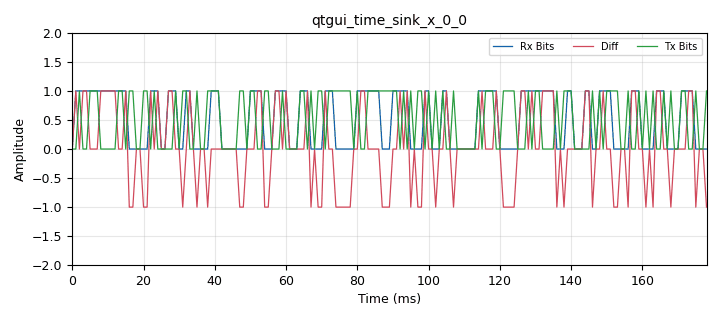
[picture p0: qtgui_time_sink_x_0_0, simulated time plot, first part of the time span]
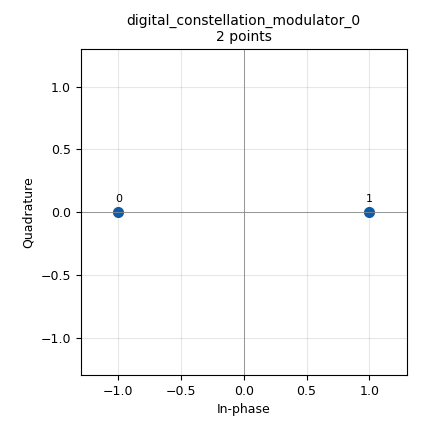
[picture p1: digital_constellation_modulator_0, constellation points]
options:
  parameters:
    author: pdflynn
    generate_options: qt_gui
    id: simple_psk
    output_language: python
    title: simple_psk_20220831
  states: {}

blocks:
- name: arity
  id: variable
  parameters:
    value: '2'
  states: {}
- name: bpsk
  id: variable_constellation
  parameters:
    precision: '8'
    type: bpsk
  states: {}
- name: delay
  id: variable_qtgui_range
  parameters:
    label: Delay
    orient: Qt.Horizontal
    start: '0'
    step: '1'
    stop: '200'
    value: '29'
  states: {}
- name: excess_bw
  id: variable
  parameters:
    value: '0.35'
  states: {}
- name: freq_offset
  id: variable
  parameters:
    value: '0'
  states: {}
- name: nfilts
  id: variable
  parameters:
    value: '32'
  states: {}
- name: noise_volt
  id: variable
  parameters:
    value: '0.05'
  states: {}
- name: phase_bw
  id: variable
  parameters:
    value: '0.0628'
  states: {}
- name: reverse
  id: variable_qtgui_chooser
  parameters:
    label0: Normal
    label1: Reverse
    num_opts: '2'
    option0: '1'
    option1: '-1'
    type: int
    value: '1'
    widget: radio_buttons
  states: {}
- name: rrc_taps
  id: variable
  parameters:
    value: firdes.root_raised_cosine(nfilts, nfilts, 1.0/float(sps), 0.35, 45*nfilts)
  states: {}
- name: samp_rate
  id: variable
  parameters:
    value: '1000'
  states: {}
- name: sps
  id: variable
  parameters:
    value: '2'
  states: {}
- name: taps
  id: variable
  parameters:
    value: '[1.0 + 0.0j, ]'
  states: {}
- name: time_offset
  id: variable
  parameters:
    value: '1.0'
  states: {}
- name: timing_loop_bw
  id: variable
  parameters:
    value: '0.0628'
  states: {}
- name: analog_random_source_x_0
  id: analog_random_source_x
  parameters:
    max: '255'
    min: '0'
    num_samps: '1000'
    repeat: 'True'
    type: byte
  states: {}
- name: blocks_char_to_float_0_0
  id: blocks_char_to_float
  parameters:
    scale: '1'
  states: {}
- name: blocks_char_to_float_0_0_0
  id: blocks_char_to_float
  parameters:
    scale: '1'
  states: {}
- name: blocks_delay_0
  id: blocks_delay
  parameters:
    delay: int(delay)
    type: float
  states: {}
- name: blocks_sub_xx_0
  id: blocks_sub_xx
  parameters:
    type: float
  states: {}
- name: blocks_throttle_0
  id: blocks_throttle
  parameters:
    samples_per_second: samp_rate
    type: complex
  states: {}
- name: blocks_unpack_k_bits_bb_0_0
  id: blocks_unpack_k_bits_bb
  parameters:
    k: '8'
  states: {}
- name: channels_channel_model_0
  id: channels_channel_model
  parameters:
    epsilon: time_offset
    freq_offset: freq_offset
    noise_voltage: noise_volt
    seed: '0'
    taps: taps
  states: {}
- name: digital_constellation_modulator_0
  id: digital_constellation_modulator
  parameters:
    constellation: bpsk
    differential: 'False'
    excess_bw: excess_bw
    samples_per_symbol: sps
  states: {}
- name: digital_constellation_receiver_cb_0
  id: digital_constellation_receiver_cb
  parameters:
    constellation: bpsk
    fmax: '1.5'
    fmin: '0'
    loop_bw: '0.06283185307'
  states: {}
- name: qtgui_const_sink_x_0
  id: qtgui_const_sink_x
  parameters:
    size: '1024'
    type: complex
  states: {state: disabled}
- name: qtgui_time_sink_x_0
  id: qtgui_time_sink_x
  parameters:
    entags: 'False'
    nconnections: '3'
    size: '1024'
    srate: samp_rate
    type: float
  states: {}
- name: qtgui_time_sink_x_0_0
  id: qtgui_time_sink_x
  parameters:
    ctrlpanel: 'True'
    label1: Rx Bits
    label2: Diff
    label3: Tx Bits
    name: ''
    nconnections: '3'
    size: '512'
    srate: samp_rate
    tr_mode: qtgui.TRIG_MODE_AUTO
    type: float
    ymax: '2'
    ymin: '-2'
  states: {}
- name: virtual_sink_0
  id: virtual_sink
  parameters:
    stream_id: recv_sig
  states: {}
- name: virtual_sink_1
  id: virtual_sink
  parameters:
    stream_id: '"xmt_sig"'
  states: {}
- name: virtual_source_0
  id: virtual_source
  parameters:
    stream_id: recv_sig
  states: {}
- name: virtual_source_1
  id: virtual_source
  parameters:
    stream_id: '"xmt_sig"'
  states: {}
- name: zeromq_pull_source_0
  id: zeromq_pull_source
  parameters:
    address: tcp://127.0.0.1:50252
    timeout: '100'
    type: byte
  states: {state: disabled}
- name: zeromq_push_sink_0
  id: zeromq_push_sink
  parameters:
    address: tcp://127.0.0.1:50251
    timeout: '1000'
    type: byte
  states: {state: disabled}

connections:
- [analog_random_source_x_0, '0', digital_constellation_modulator_0, '0']
- [analog_random_source_x_0, '0', virtual_sink_1, '0']
- [blocks_char_to_float_0_0, '0', blocks_sub_xx_0, '0']
- [blocks_char_to_float_0_0, '0', qtgui_time_sink_x_0_0, '0']
- [blocks_char_to_float_0_0_0, '0', blocks_delay_0, '0']
- [blocks_delay_0, '0', blocks_sub_xx_0, '1']
- [blocks_delay_0, '0', qtgui_time_sink_x_0_0, '2']
- [blocks_sub_xx_0, '0', qtgui_time_sink_x_0_0, '1']
- [blocks_throttle_0, '0', channels_channel_model_0, '0']
- [blocks_unpack_k_bits_bb_0_0, '0', blocks_char_to_float_0_0_0, '0']
- [channels_channel_model_0, '0', virtual_sink_0, '0']
- [digital_constellation_modulator_0, '0', blocks_throttle_0, '0']
- [digital_constellation_receiver_cb_0, '0', blocks_char_to_float_0_0, '0']
- [digital_constellation_receiver_cb_0, '0', zeromq_push_sink_0, '0']
- [digital_constellation_receiver_cb_0, '1', qtgui_time_sink_x_0, '0']
- [digital_constellation_receiver_cb_0, '2', qtgui_time_sink_x_0, '1']
- [digital_constellation_receiver_cb_0, '3', qtgui_time_sink_x_0, '2']
- [digital_constellation_receiver_cb_0, '4', qtgui_const_sink_x_0, '0']
- [virtual_source_0, '0', digital_constellation_receiver_cb_0, '0']
- [virtual_source_1, '0', blocks_unpack_k_bits_bb_0_0, '0']
- [zeromq_pull_source_0, '0', digital_constellation_modulator_0, '0']
- [zeromq_pull_source_0, '0', virtual_sink_1, '0']

metadata:
  file_format: 1
